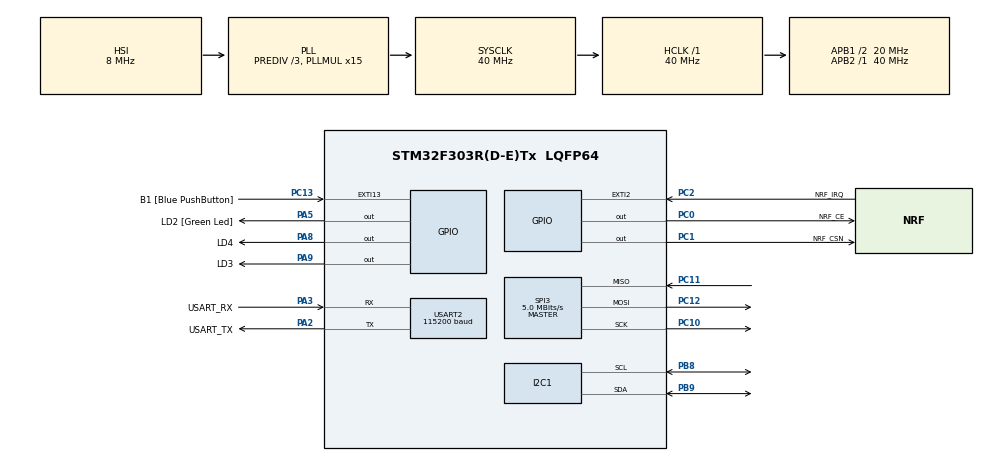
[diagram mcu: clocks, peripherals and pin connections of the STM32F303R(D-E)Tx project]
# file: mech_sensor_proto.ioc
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I2C1.Speed=100
I2C1.Timing=0x2000090E
Mcu.Family=STM32F3
Mcu.Name=STM32F303R(D-E)Tx
Mcu.Package=LQFP64
NVIC.PriorityGroup=NVIC_PRIORITYGROUP_0
PA13.GPIO_Label=TMS
PA13.Mode=Serial_Wire
PA13.Signal=SYS_JTMS-SWDIO
PA14.GPIO_Label=TCK
PA14.Mode=Serial_Wire
PA14.Signal=SYS_JTCK-SWCLK
PA2.GPIO_Label=USART_TX
PA2.GPIO_Mode=GPIO_MODE_AF_PP
PA2.GPIO_PuPd=GPIO_NOPULL
PA2.GPIO_Speed=GPIO_SPEED_FREQ_LOW
PA2.Mode=Asynchronous
PA2.Signal=USART2_TX
PA3.GPIO_Label=USART_RX
PA3.GPIO_Mode=GPIO_MODE_AF_PP
PA3.GPIO_PuPd=GPIO_NOPULL
PA3.GPIO_Speed=GPIO_SPEED_FREQ_LOW
PA3.Mode=Asynchronous
PA3.Signal=USART2_RX
PA5.GPIO_Label=LD2 [Green Led]
PA5.GPIO_Mode=GPIO_MODE_OUTPUT_PP
PA5.GPIO_PuPd=GPIO_NOPULL
PA5.GPIO_Speed=GPIO_SPEED_FREQ_LOW
PA5.Signal=GPIO_Output
PA8.GPIO_Label=LD4
PA8.Signal=GPIO_Output
PA9.GPIO_Label=LD3
PA9.Signal=GPIO_Output
PB3.Signal=SYS_JTDO-TRACESWO
PB8.Mode=I2C
PB8.Signal=I2C1_SCL
PB9.Mode=I2C
PB9.Signal=I2C1_SDA
PC0.GPIO_Label=NRF_CE
PC0.Signal=GPIO_Output
PC1.GPIO_Label=NRF_CSN
PC1.Signal=GPIO_Output
PC10.Mode=Full_Duplex_Master
PC10.Signal=SPI3_SCK
PC11.Mode=Full_Duplex_Master
PC11.Signal=SPI3_MISO
PC12.Mode=Full_Duplex_Master
PC12.Signal=SPI3_MOSI
PC13.GPIO_Label=B1 [Blue PushButton]
PC13.GPIO_ModeDefaultEXTI=GPIO_MODE_IT_FALLING
PC13.Signal=GPXTI13
PC14-OSC32_IN.Mode=LSE-External-Oscillator
PC14-OSC32_IN.Signal=RCC_OSC32_IN
PC15-OSC32_OUT.Mode=LSE-External-Oscillator
PC15-OSC32_OUT.Signal=RCC_OSC32_OUT
PC2.GPIO_Label=NRF_IRQ
PC2.Signal=GPXTI2
PF0-OSC_IN.Mode=HSE-External-Clock-Source
PF0-OSC_IN.Signal=RCC_OSC_IN
PF1-OSC_OUT.Signal=RCC_OSC_OUT
ProjectManager.HeapSize=0x200
ProjectManager.StackSize=0x400
ProjectManager.TargetToolchain=SW4STM32
RCC.AHBFreq_Value=40000000
RCC.APB1CLKDivider=RCC_HCLK_DIV2
RCC.APB1Freq_Value=20000000
RCC.APB1TimFreq_Value=40000000
RCC.APB2Freq_Value=40000000
RCC.APB2TimFreq_Value=40000000
RCC.CortexFreq_Value=40000000
RCC.HCLKFreq_Value=40000000
RCC.HSE_VALUE=8000000
RCC.HSI_VALUE=8000000
RCC.PLLDivider=RCC_PREDIV_DIV3
RCC.PLLM=8
RCC.PLLMUL=RCC_PLL_MUL15
RCC.PLLN=336
RCC.PLLP=RCC_PLLP_DIV4
RCC.PLLQ=7
RCC.RCC_PLLsource_Clock_Source_FROM_HSE=RCC_HSE_PREDIV_DIV2
RCC.SYSCLKFreq_VALUE=40000000
RCC.SYSCLKSourceVirtual=RCC_SYSCLKSOURCE_PLLCLK
RCC.USBFreq_Value=40000000
SPI3.BaudRatePrescaler=SPI_BAUDRATEPRESCALER_4
SPI3.CalculateBaudRate=5.0 MBits/s
SPI3.DataSize=SPI_DATASIZE_8BIT
SPI3.Direction=SPI_DIRECTION_2LINES
SPI3.Mode=SPI_MODE_MASTER
SPI3.NSSPMode=SPI_NSS_PULSE_DISABLE
SPI3.VirtualType=VM_MASTER
USART2.BaudRate=115200
USART2.VirtualMode-Asynchronous=VM_ASYNC
board=NUCLEO-F303RE

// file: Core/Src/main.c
/* USER CODE BEGIN Header */
/**
  ******************************************************************************
  * @file           : main.c
  * @brief          : Main program body
  ******************************************************************************
  ** This notice applies to any and all portions of this file
  * that are not between comment pairs USER CODE BEGIN and
  * USER CODE END. Other portions of this file, whether
  * inserted by the user or by software development tools
  * are owned by their respective copyright owners.
  *
  * COPYRIGHT(c) 2019 STMicroelectronics
  *
  * Redistribution and use in source and binary forms, with or without modification,
  * are permitted provided that the following conditions are met:
  *   1. Redistributions of source code must retain the above copyright notice,
  *      this list of conditions and the following disclaimer.
  *   2. Redistributions in binary form must reproduce the above copyright notice,
  *      this list of conditions and the following disclaimer in the documentation
  *      and/or other materials provided with the distribution.
  *   3. Neither the name of STMicroelectronics nor the names of its contributors
  *      may be used to endorse or promote products derived from this software
  *      without specific prior written permission.
  *
  * THIS SOFTWARE IS PROVIDED BY THE COPYRIGHT HOLDERS AND CONTRIBUTORS "AS IS"
  * AND ANY EXPRESS OR IMPLIED WARRANTIES, INCLUDING, BUT NOT LIMITED TO, THE
  * IMPLIED WARRANTIES OF MERCHANTABILITY AND FITNESS FOR A PARTICULAR PURPOSE ARE
  * DISCLAIMED. IN NO EVENT SHALL THE COPYRIGHT HOLDER OR CONTRIBUTORS BE LIABLE
  * FOR ANY DIRECT, INDIRECT, INCIDENTAL, SPECIAL, EXEMPLARY, OR CONSEQUENTIAL
  * DAMAGES (INCLUDING, BUT NOT LIMITED TO, PROCUREMENT OF SUBSTITUTE GOODS OR
  * SERVICES; LOSS OF USE, DATA, OR PROFITS; OR BUSINESS INTERRUPTION) HOWEVER
  * CAUSED AND ON ANY THEORY OF LIABILITY, WHETHER IN CONTRACT, STRICT LIABILITY,
  * OR TORT (INCLUDING NEGLIGENCE OR OTHERWISE) ARISING IN ANY WAY OUT OF THE USE
  * OF THIS SOFTWARE, EVEN IF ADVISED OF THE POSSIBILITY OF SUCH DAMAGE.
  *
  ******************************************************************************
  */
/* USER CODE END Header */

#include "main.h"

I2C_HandleTypeDef hi2c1;

SPI_HandleTypeDef hspi3;

UART_HandleTypeDef huart2;

void SystemClock_Config(void);
static void MX_GPIO_Init(void);
static void MX_USART2_UART_Init(void);
static void MX_SPI3_Init(void);
static void MX_I2C1_Init(void);

/* USER CODE BEGIN 0 */
int __unused _write(int __unused file, char *data, int len) {
    return (HAL_UART_Transmit(&huart2, (uint8_t *) data, (uint16_t) len, 200) == HAL_OK ? len : 0);
}

void resetI2C() {
    HAL_I2C_DeInit(&hi2c1);
    MX_I2C1_Init();
}
/* USER CODE END 0 */

int main(void)
{

  /* MCU Configuration--------------------------------------------------------*/

  /* Reset of all peripherals, Initializes the Flash interface and the Systick. */
  HAL_Init();

  /* Configure the system clock */
  SystemClock_Config();

  /* Initialize all configured peripherals */
  MX_GPIO_Init();
  MX_USART2_UART_Init();
  MX_SPI3_Init();
  MX_I2C1_Init();
  /* USER CODE BEGIN 2 */
  radioCheck();
  radioInit();
  /* USER CODE END 2 */

  /* Infinite loop */
  /* USER CODE BEGIN WHILE */
#pragma clang diagnostic push
#pragma clang diagnostic ignored "-Wmissing-noreturn"
  while (1)
  {
    /* USER CODE END WHILE */

    /* USER CODE BEGIN 3 */
      radioLoop();
      sensorLoop();
//      puts(reply);
  }
#pragma clang diagnostic pop
  /* USER CODE END 3 */
}

void SystemClock_Config(void)
{
  RCC_OscInitTypeDef RCC_OscInitStruct = {0};
  RCC_ClkInitTypeDef RCC_ClkInitStruct = {0};
  RCC_PeriphCLKInitTypeDef PeriphClkInit = {0};

  /**Initializes the CPU, AHB and APB busses clocks
  */
  RCC_OscInitStruct.OscillatorType = RCC_OSCILLATORTYPE_HSI;
  RCC_OscInitStruct.HSIState = RCC_HSI_ON;
  RCC_OscInitStruct.HSICalibrationValue = RCC_HSICALIBRATION_DEFAULT;
  RCC_OscInitStruct.PLL.PLLState = RCC_PLL_ON;
  RCC_OscInitStruct.PLL.PLLSource = RCC_PLLSOURCE_HSI;
  RCC_OscInitStruct.PLL.PLLMUL = RCC_PLL_MUL15;
  RCC_OscInitStruct.PLL.PREDIV = RCC_PREDIV_DIV3;
  if (HAL_RCC_OscConfig(&RCC_OscInitStruct) != HAL_OK)
  {
    Error_Handler();
  }
  /**Initializes the CPU, AHB and APB busses clocks
  */
  RCC_ClkInitStruct.ClockType = RCC_CLOCKTYPE_HCLK|RCC_CLOCKTYPE_SYSCLK
                              |RCC_CLOCKTYPE_PCLK1|RCC_CLOCKTYPE_PCLK2;
  RCC_ClkInitStruct.SYSCLKSource = RCC_SYSCLKSOURCE_PLLCLK;
  RCC_ClkInitStruct.AHBCLKDivider = RCC_SYSCLK_DIV1;
  RCC_ClkInitStruct.APB1CLKDivider = RCC_HCLK_DIV2;
  RCC_ClkInitStruct.APB2CLKDivider = RCC_HCLK_DIV1;

  if (HAL_RCC_ClockConfig(&RCC_ClkInitStruct, FLASH_LATENCY_1) != HAL_OK)
  {
    Error_Handler();
  }
  PeriphClkInit.PeriphClockSelection = RCC_PERIPHCLK_USART2|RCC_PERIPHCLK_I2C1;
  PeriphClkInit.Usart2ClockSelection = RCC_USART2CLKSOURCE_PCLK1;
  PeriphClkInit.I2c1ClockSelection = RCC_I2C1CLKSOURCE_HSI;
  if (HAL_RCCEx_PeriphCLKConfig(&PeriphClkInit) != HAL_OK)
  {
    Error_Handler();
  }
}

static void MX_I2C1_Init(void)
{

  hi2c1.Instance = I2C1;
  hi2c1.Init.Timing = 0x2000090E;
  hi2c1.Init.OwnAddress1 = 0;
  hi2c1.Init.AddressingMode = I2C_ADDRESSINGMODE_7BIT;
  hi2c1.Init.DualAddressMode = I2C_DUALADDRESS_DISABLE;
  hi2c1.Init.OwnAddress2 = 0;
  hi2c1.Init.OwnAddress2Masks = I2C_OA2_NOMASK;
  hi2c1.Init.GeneralCallMode = I2C_GENERALCALL_DISABLE;
  hi2c1.Init.NoStretchMode = I2C_NOSTRETCH_DISABLE;
  if (HAL_I2C_Init(&hi2c1) != HAL_OK)
  {
    Error_Handler();
  }
  /**Configure Analogue filter
  */
  if (HAL_I2CEx_ConfigAnalogFilter(&hi2c1, I2C_ANALOGFILTER_ENABLE) != HAL_OK)
  {
    Error_Handler();
  }
  /**Configure Digital filter
  */
  if (HAL_I2CEx_ConfigDigitalFilter(&hi2c1, 0) != HAL_OK)
  {
    Error_Handler();
  }

}

static void MX_SPI3_Init(void)
{

  /* SPI3 parameter configuration*/
  hspi3.Instance = SPI3;
  hspi3.Init.Mode = SPI_MODE_MASTER;
  hspi3.Init.Direction = SPI_DIRECTION_2LINES;
  hspi3.Init.DataSize = SPI_DATASIZE_8BIT;
  hspi3.Init.CLKPolarity = SPI_POLARITY_LOW;
  hspi3.Init.CLKPhase = SPI_PHASE_1EDGE;
  hspi3.Init.NSS = SPI_NSS_SOFT;
  hspi3.Init.BaudRatePrescaler = SPI_BAUDRATEPRESCALER_4;
  hspi3.Init.FirstBit = SPI_FIRSTBIT_MSB;
  hspi3.Init.TIMode = SPI_TIMODE_DISABLE;
  hspi3.Init.CRCCalculation = SPI_CRCCALCULATION_DISABLE;
  hspi3.Init.CRCPolynomial = 7;
  hspi3.Init.CRCLength = SPI_CRC_LENGTH_DATASIZE;
  hspi3.Init.NSSPMode = SPI_NSS_PULSE_DISABLE;
  if (HAL_SPI_Init(&hspi3) != HAL_OK)
  {
    Error_Handler();
  }

}

static void MX_USART2_UART_Init(void)
{

  huart2.Instance = USART2;
  huart2.Init.BaudRate = 115200;
  huart2.Init.WordLength = UART_WORDLENGTH_8B;
  huart2.Init.StopBits = UART_STOPBITS_1;
  huart2.Init.Parity = UART_PARITY_NONE;
  huart2.Init.Mode = UART_MODE_TX_RX;
  huart2.Init.HwFlowCtl = UART_HWCONTROL_NONE;
  huart2.Init.OverSampling = UART_OVERSAMPLING_16;
  huart2.Init.OneBitSampling = UART_ONE_BIT_SAMPLE_DISABLE;
  huart2.AdvancedInit.AdvFeatureInit = UART_ADVFEATURE_NO_INIT;
  if (HAL_UART_Init(&huart2) != HAL_OK)
  {
    Error_Handler();
  }

}

static void MX_GPIO_Init(void)
{
  GPIO_InitTypeDef GPIO_InitStruct = {0};

  /* GPIO Ports Clock Enable */
  __HAL_RCC_GPIOC_CLK_ENABLE();
  __HAL_RCC_GPIOF_CLK_ENABLE();
  __HAL_RCC_GPIOA_CLK_ENABLE();
  __HAL_RCC_GPIOB_CLK_ENABLE();

  /*Configure GPIO pin Output Level */
  HAL_GPIO_WritePin(GPIOC, NRF_CE_Pin|NRF_CSN_Pin, GPIO_PIN_RESET);

  /*Configure GPIO pin Output Level */
  HAL_GPIO_WritePin(GPIOA, LD2_Pin|LD4_Pin|LD3_Pin, GPIO_PIN_RESET);

  /*Configure GPIO pin : B1_Pin */
  GPIO_InitStruct.Pin = B1_Pin;
  GPIO_InitStruct.Mode = GPIO_MODE_IT_FALLING;
  GPIO_InitStruct.Pull = GPIO_NOPULL;
  HAL_GPIO_Init(B1_GPIO_Port, &GPIO_InitStruct);

  /*Configure GPIO pins : NRF_CE_Pin NRF_CSN_Pin */
  GPIO_InitStruct.Pin = NRF_CE_Pin|NRF_CSN_Pin;
  GPIO_InitStruct.Mode = GPIO_MODE_OUTPUT_PP;
  GPIO_InitStruct.Pull = GPIO_NOPULL;
  GPIO_InitStruct.Speed = GPIO_SPEED_FREQ_LOW;
  HAL_GPIO_Init(GPIOC, &GPIO_InitStruct);

  /*Configure GPIO pin : NRF_IRQ_Pin */
  GPIO_InitStruct.Pin = NRF_IRQ_Pin;
  GPIO_InitStruct.Mode = GPIO_MODE_IT_RISING;
  GPIO_InitStruct.Pull = GPIO_NOPULL;
  HAL_GPIO_Init(NRF_IRQ_GPIO_Port, &GPIO_InitStruct);

  /*Configure GPIO pins : LD2_Pin LD4_Pin LD3_Pin */
  GPIO_InitStruct.Pin = LD2_Pin|LD4_Pin|LD3_Pin;
  GPIO_InitStruct.Mode = GPIO_MODE_OUTPUT_PP;
  GPIO_InitStruct.Pull = GPIO_NOPULL;
  GPIO_InitStruct.Speed = GPIO_SPEED_FREQ_LOW;
  HAL_GPIO_Init(GPIOA, &GPIO_InitStruct);

}

void Error_Handler(void)
{
  /* USER CODE BEGIN Error_Handler_Debug */
  /* User can add his own implementation to report the HAL error return state */
    printf("FAIL\r\n");
#pragma clang diagnostic push
#pragma clang diagnostic ignored "-Wmissing-noreturn"
    while (1) {
        HAL_GPIO_TogglePin(LD2_GPIO_Port, LD2_Pin);
        HAL_Delay(50);
    }
#pragma clang diagnostic pop

  /* USER CODE END Error_Handler_Debug */
}

/************************ (C) COPYRIGHT STMicroelectronics *****END OF FILE****/
